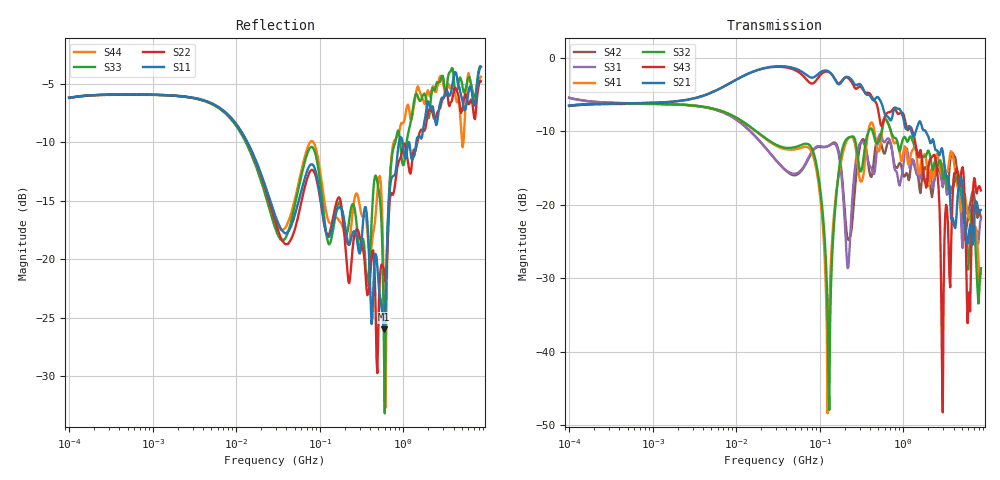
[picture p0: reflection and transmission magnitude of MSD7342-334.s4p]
# MHz S MA R 50
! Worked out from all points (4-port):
!   498 points, 100 kHz to 8.5 GHz, reference 50 ohm
!   strongest paths, dB at 100 kHz, 1.698 MHz, 29.49 MHz, 500.7 MHz, 8.5 GHz:
!     S21: -6.5, -6.0, -1.2, -5.4, -20.7
!     S43: -6.5, -6.0, -1.3, -7.1, -18.1
!     S32: -6.6, -6.4, -11.8, -11.6, -28.7
!     S41: -6.6, -6.4, -11.9, -12.7, -28.7
!     S31: -5.5, -6.3, -13.9, -11.2, -21.9
!     S42: -5.4, -6.3, -13.9, -11.0, -21.7
!   lowest |S11| = -26.0 dB at 587.5 MHz (marker M1), VSWR 1.11, Z = 54.8 - j2.26 ohm
!   |S11| at or under -10 dB: 13.63 MHz to 889.5 MHz (875.8 MHz wide, 194 % of centre); 976.4 MHz to 1.163 GHz (186.1 MHz wide, 17.4 % of centre); 1.169 GHz to 1.43 GHz (261.2 MHz wide, 20.1 % of centre)
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0.1  0.4892 13.4  0.4713 15.2  0.5326 -13.2  0.4689 -165.9
     0.4713 15.2  0.4889 13.6  0.4694 -165.9  0.5341 -13.4
     0.5326 -13.2  0.4694 -165.9  0.4894 13.5  0.4712 15.0
     0.4689 -165.9  0.5341 -13.4  0.4712 15.0  0.488 13.5
75.21785  0.2501 -14.9  0.7392 -19.8  0.2144 155.7  0.241 11.2
          0.7392 -19.8  0.2342 -12.1  0.2545 9.4  0.2111 158.6
          0.2144 155.7  0.2545 9.4  0.2963 -12.0  0.6779 -21.7
          0.241 11.2  0.2111 158.6  0.6779 -21.7  0.3125 -10.4
130.1252  0.1248 -28.7  0.8006 -33.7  0.2525 45.7  0.01896 108.5
          0.8006 -33.7  0.1285 -26.6  0.004009 113.9  0.2529 48.6
          0.2525 45.7  0.004009 113.9  0.1156 -30.8  0.7943 -33.1
          0.01896 108.5  0.2529 48.6  0.7943 -33.1  0.1431 -37.0
587.4518  0.05023 -24.2  0.4323 -116.4  0.2652 -69.1  0.3707 -58.9
          0.4323 -116.4  0.09022 -28.1  0.3767 -60.9  0.2226 -74.0
          0.2652 -69.1  0.3767 -60.9  0.03953 -150.9  0.3827 -105.9
          0.3707 -58.9  0.2226 -74.0  0.3827 -105.9  0.06327 -110.2
2972.863  0.489 -28.9  0.2306 -87.9  0.1312 -55.7  0.1805 -47.2
          0.2306 -87.9  0.4835 -25.8  0.1597 -75.3  0.1567 -57.6
          0.1312 -55.7  0.1597 -75.3  0.6062 -32.9  0.003866 -27.7
          0.1805 -47.2  0.1567 -57.6  0.003866 -27.7  0.5742 -51.7
4000.492  0.5967 -153.1  0.07682 152.7  0.1341 175.0  0.2032 147.3
          0.07682 152.7  0.5161 -151.9  0.1388 164.7  0.219 143.1
          0.1341 175.0  0.1388 164.7  0.6105 -170.8  0.149 -93.6
          0.2032 147.3  0.219 143.1  0.149 -93.6  0.5376 -173.0
8500  0.6634 -58.7  0.0918 40.7  0.08012 -4.0  0.03692 -26.5
      0.0918 40.7  0.5749 -75.4  0.03675 -22.5  0.08209 -81.7
      0.08012 -4.0  0.03675 -22.5  0.6621 -63.8  0.125 28.3
      0.03692 -26.5  0.08209 -81.7  0.125 28.3  0.6015 -80.2
